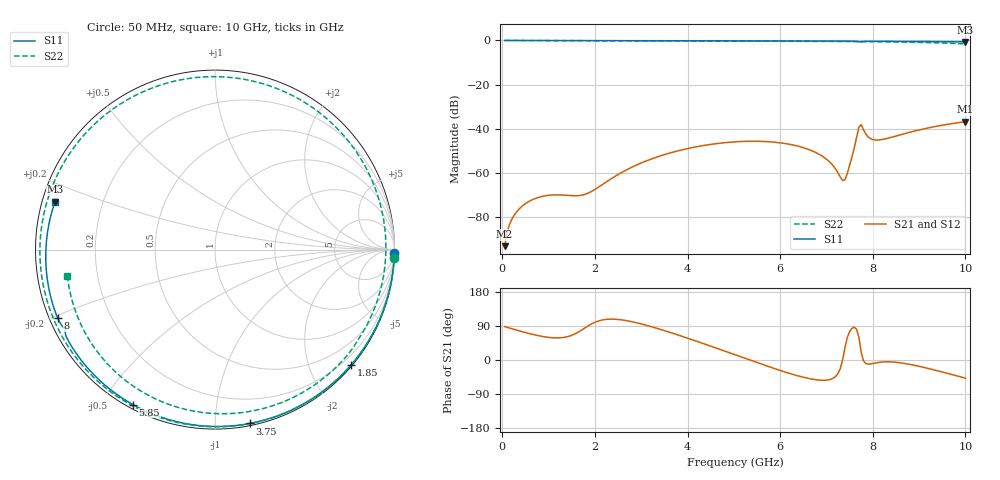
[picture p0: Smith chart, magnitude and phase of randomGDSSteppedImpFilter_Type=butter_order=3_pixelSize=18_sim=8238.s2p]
! freq	dB(S11)	phase(S11)	dB(S12)	phase(S12)
!  dB(S21)	phase(S21)	dB(S22)	phase(S22)
!S-par simulation data
#  GHz  S  DB  R 50
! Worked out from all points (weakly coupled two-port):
!   200 points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, 50 MHz to 10 GHz, reference 50 ohm
!   highest |S21| = -36.84 dB at 10 GHz (marker M1); lowest = -93.3 dB at 50 MHz (marker M2)
!   lowest |S11| = -0.6 dB at 10 GHz (marker M3), VSWR 27.74, Z = 1.84 + j7.33 ohm
!   |S11| at or under -10 dB: nowhere
!   |S22| runs from -1.6 to 0.0 dB; largest |S21 - S12| = 0
!   S11 on the Smith chart (normalised r, x): 50 MHz: open; 1.85 GHz: 0.02, -2.74; 3.75 GHz: 0.02, -1.22; 5.85 GHz: 0.02, -0.60; 8 GHz: 0.02, -0.21; 10 GHz: 0.04, +0.15
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0.05  -0.00 -1.1  -93.28 88.2  -93.28 88.2  -0.00 -2.6
0.25  -0.01 -5.5  -79.49 80.9  -79.49 80.9  -0.02 -12.9
0.5  -0.01 -11.0  -74.00 72.4  -74.00 72.4  -0.03 -25.7
0.8  -0.02 -17.6  -71.05 63.7  -71.05 63.7  -0.05 -40.9
1.75  -0.05 -38.0  -70.00 81.9  -70.00 81.9  -0.11 -87.7
1.85  -0.05 -40.1  -69.26 89.7  -69.26 89.7  -0.11 -92.5
2.55  -0.07 -54.7  -60.19 106.3  -60.19 106.3  -0.15 -125.5
3.4  -0.09 -71.8  -52.43 81.4  -52.43 81.4  -0.20 -165.1
3.75  -0.11 -78.7  -50.28 67.8  -50.28 67.8  -0.22 178.2
4.4  -0.13 -91.1  -47.44 40.9  -47.44 40.9  -0.26 146.4
5.05  -0.16 -103.3  -45.93 12.7  -45.93 12.7  -0.30 112.7
5.85  -0.20 -117.9  -46.08 -21.5  -46.08 -21.5  -0.34 69.0
6.7  -0.26 -133.3  -50.14 -50.7  -50.14 -50.7  -0.39 21.3
7.05  -0.29 -139.7  -54.73 -52.2  -54.73 -52.2  -0.42 2.0
7.35  -0.31 -145.3  -63.52 1.2  -63.52 1.2  -0.46 -14.4
7.45  -0.33 -147.2  -60.33 59.5  -60.33 59.5  -0.47 -19.8
7.7  -0.56 -152.2  -39.34 59.6  -39.34 59.6  -0.52 -32.9
7.75  -0.59 -151.9  -38.17 20.3  -38.17 20.3  -0.50 -35.5
8  -0.40 -156.6  -44.93 -9.3  -44.93 -9.3  -0.55 -48.9
8.35  -0.42 -163.3  -44.21 -4.8  -44.21 -4.8  -0.64 -67.4
9.2  -0.52 -180.0  -39.65 -22.4  -39.65 -22.4  -0.99 -114.7
10  -0.63 163.3  -36.84 -47.9  -36.84 -47.9  -1.56 -169.7
